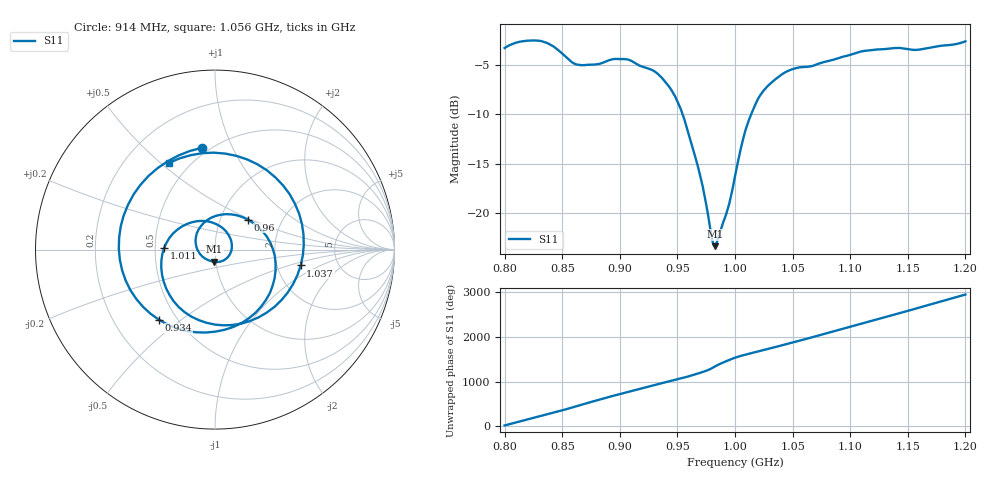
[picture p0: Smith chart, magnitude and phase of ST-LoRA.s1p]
! NanoVNA-App
! Date: 2026-05-22 18:59:32
! Start: 800MHz Stop: 1.2GHz Points: 401
! S-Parameter data: F S11
# Hz S RI R 50
!  Frequency  S11_Real  S11_Imag
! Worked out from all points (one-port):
!   401 points, 800 MHz to 1.2 GHz, reference 50 ohm
!   lowest |S11| = -23.4 dB at 983 MHz (marker M1), VSWR 1.15, Z = 49.2 - j6.72 ohm
!   |S11| at or under -10 dB: 954.5 MHz to 1.014 GHz (59.5 MHz wide, 6.04 % of centre)
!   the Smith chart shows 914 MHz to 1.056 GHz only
!   S11 on the Smith chart (normalised r, x): 914 MHz: 0.46, +0.77; 934 MHz: 0.40, -0.42; 960 MHz: 1.35, +0.48; 1.011 GHz: 0.56, +0.01; 1.037 GHz: 2.72, -0.63; 1.056 GHz: 0.39, +0.53
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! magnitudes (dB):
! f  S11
! 800 MHz  -3.3
! 813 MHz  -2.7
! 829 MHz  -2.5
! 839 MHz  -2.9
! 850 MHz  -3.8
! 865 MHz  -5.0
! 900 MHz  -4.4
! 914 MHz  -4.9
! 934 MHz  -6.0
! 943 MHz  -7.2
! 950 MHz  -8.7
! 955 MHz  -10.1
! 960 MHz  -12.1
! 971 MHz  -16.8
! 980 MHz  -22.6
! 983 MHz  -23.4
! 993 MHz  -19.9
! 1 GHz  -16.3
! 1.006 GHz  -13.0
! 1.011 GHz  -10.9
! 1.022 GHz  -8.0
! 1.037 GHz  -6.3
! 1.05 GHz  -5.4
! 1.056 GHz  -5.2
! 1.1 GHz  -4.0
! 1.122 GHz  -3.4
! 1.15 GHz  -3.4
! 1.2 GHz  -2.6
